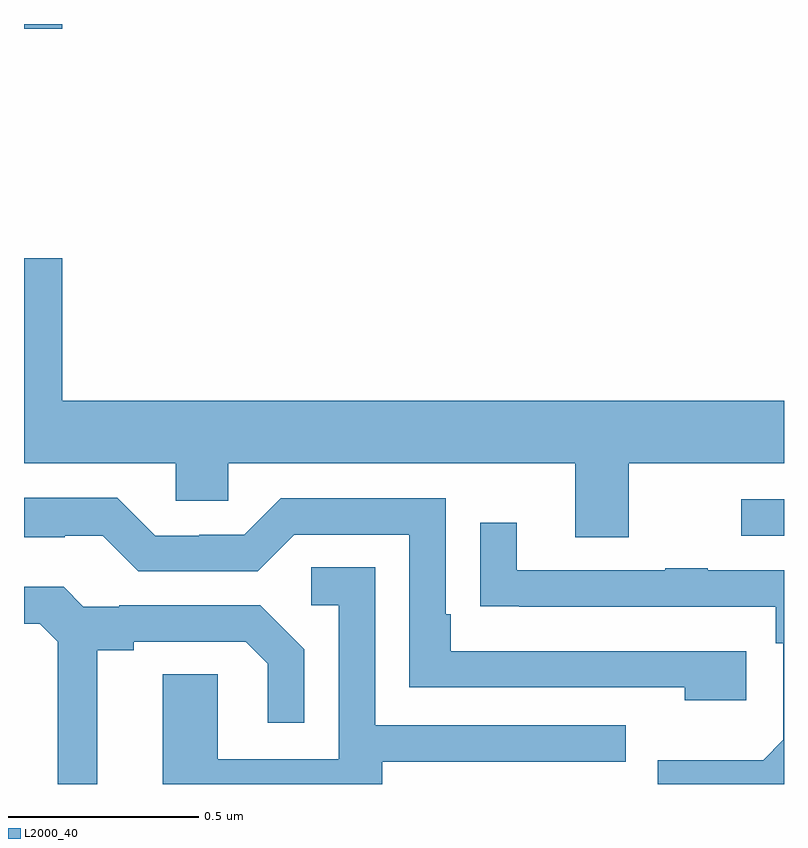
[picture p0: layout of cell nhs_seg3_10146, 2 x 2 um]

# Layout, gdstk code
import gdstk
lib = gdstk.Library(unit=1e-6, precision=1e-09)
def R(c, l, rs):  # rectangles x0, y0, x1, y1
    for r in rs: c.add(gdstk.rectangle(r[:2], r[2:], *l))
def P(c, l, *ps):  # polygons
    for p in ps: c.add(gdstk.Polygon(p, *l))
L2000_40 = (2000, 40)

nhs_seg3_10146 = lib.new_cell('nhs_seg3_10146')
R(nhs_seg3_10146, L2000_40, [(238.887,706.053,239,706.149), (237,707.388,237.1,707.4)])
P(nhs_seg3_10146, L2000_40, [(238.591,706.244),(239,706.244),(239,706.408),(237.1,706.408),(237.1,706.783),(237,706.783),(237,706.244),(237.399,706.244),(237.399,706.146),(237.537,706.146),(237.537,706.244),(238.451,706.244),(238.451,706.05),(238.591,706.05)],
  [(238.9,705.75),(238.123,705.75),(238.123,705.847),(238.11,705.847),(238.11,706.152),(237.675,706.152),(237.579,706.056),(237.461,706.056),(237.461,706.053),(237.345,706.053),(237.245,706.153),(237,706.153),(237,706.049),(237.107,706.049),(237.107,706.053),(237.207,706.053),(237.3,705.96),(237.615,705.96),(237.711,706.056),(238.014,706.056),(238.014,705.654),(238.739,705.654),(238.739,705.62),(238.9,705.62)],
  [(239,705.963),(238.799,705.963),(238.799,705.968),(238.687,705.968),(238.687,705.963),(238.297,705.963),(238.297,706.087),(238.201,706.087),(238.201,705.868),(238.303,705.868),(238.303,705.867),(238.978,705.867),(238.978,705.77),(238.998,705.77),(238.998,705.516),(238.945,705.463),(238.668,705.463),(238.668,705.4),(239,705.4)],
  [(237.943,705.459),(238.583,705.459),(238.583,705.555),(237.924,705.555),(237.924,705.971),(237.756,705.971),(237.756,705.87),(237.828,705.87),(237.828,705.465),(237.51,705.465),(237.51,705.689),(237.365,705.689),(237.365,705.4),(237.943,705.4)],
  [(237.193,705.752),(237.289,705.752),(237.289,705.774),(237.584,705.774),(237.641,705.717),(237.641,705.561),(237.738,705.561),(237.738,705.754),(237.622,705.87),(237.25,705.87),(237.25,705.867),(237.156,705.867),(237.104,705.919),(237,705.919),(237,705.822),(237.042,705.822),(237.089,705.775),(237.089,705.4),(237.193,705.4)])

lib.write_gds('nhs_seg3_10146.gds')
